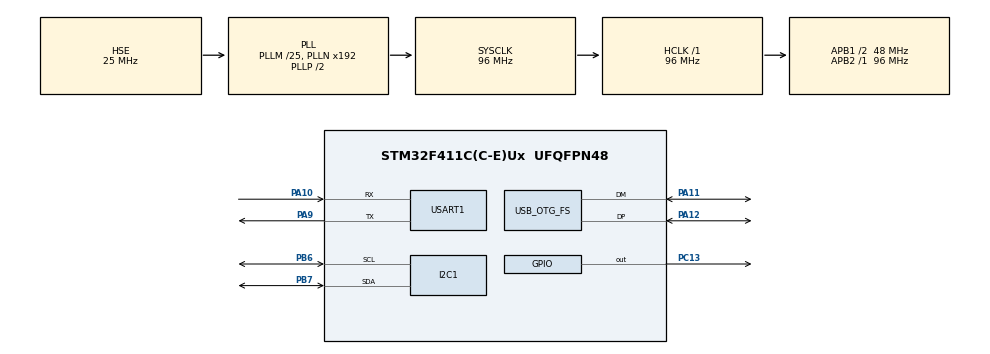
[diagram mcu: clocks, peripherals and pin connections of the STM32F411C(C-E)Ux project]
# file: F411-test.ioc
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Mcu.Family=STM32F4
Mcu.Name=STM32F411C(C-E)Ux
Mcu.Package=UFQFPN48
NVIC.OTG_FS_IRQn=true\:0\:0\:false\:false\:true\:false\:true\:true
NVIC.PriorityGroup=NVIC_PRIORITYGROUP_4
PA10.Mode=Asynchronous
PA10.Signal=USART1_RX
PA11.Mode=Device_Only
PA11.Signal=USB_OTG_FS_DM
PA12.Mode=Device_Only
PA12.Signal=USB_OTG_FS_DP
PA9.Mode=Asynchronous
PA9.Signal=USART1_TX
PB6.Mode=I2C
PB6.Signal=I2C1_SCL
PB7.Mode=I2C
PB7.Signal=I2C1_SDA
PC13-ANTI_TAMP.Signal=GPIO_Output
PC14-OSC32_IN.Mode=LSE-External-Oscillator
PC14-OSC32_IN.Signal=RCC_OSC32_IN
PC15-OSC32_OUT.Mode=LSE-External-Oscillator
PC15-OSC32_OUT.Signal=RCC_OSC32_OUT
PH0\ -\ OSC_IN.Mode=HSE-External-Oscillator
PH0\ -\ OSC_IN.Signal=RCC_OSC_IN
PH1\ -\ OSC_OUT.Mode=HSE-External-Oscillator
PH1\ -\ OSC_OUT.Signal=RCC_OSC_OUT
ProjectManager.HeapSize=0x200
ProjectManager.StackSize=0x400
ProjectManager.TargetToolchain=STM32CubeIDE
RCC.48MHZClocksFreq_Value=48000000
RCC.AHBFreq_Value=96000000
RCC.APB1CLKDivider=RCC_HCLK_DIV2
RCC.APB1Freq_Value=48000000
RCC.APB1TimFreq_Value=96000000
RCC.APB2Freq_Value=96000000
RCC.APB2TimFreq_Value=96000000
RCC.CortexFreq_Value=96000000
RCC.HCLKFreq_Value=96000000
RCC.HSE_VALUE=25000000
RCC.HSI_VALUE=16000000
RCC.PLLM=25
RCC.SYSCLKFreq_VALUE=96000000
RCC.SYSCLKSource=RCC_SYSCLKSOURCE_PLLCLK
RCC.VCOOutputFreq_Value=192000000
USART1.VirtualMode=VM_ASYNC
USB_DEVICE.CLASS_NAME_FS=CDC
USB_DEVICE.VirtualMode=Cdc
USB_DEVICE.VirtualModeFS=Cdc_FS
USB_OTG_FS.VirtualMode=Device_Only
VP_USB_DEVICE_VS_USB_DEVICE_CDC_FS.Mode=CDC_FS
board=custom

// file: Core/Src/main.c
/* USER CODE BEGIN Header */
/**
  ******************************************************************************
  * @file           : main.c
  * @brief          : Main program body
  ******************************************************************************
  * @attention
  *
  * Copyright (c) 2023 STMicroelectronics.
  * All rights reserved.
  *
  * This software is licensed under terms that can be found in the LICENSE file
  * in the root directory of this software component.
  * If no LICENSE file comes with this software, it is provided AS-IS.
  *
  ******************************************************************************
  * Date completed: Jul 12, 2023
  * Celine Kwan
  * Desc: testing LED blink, USB CDC Serial transmission,
  * UART transmission, I2C communication with STM32F411
  * BlackPill board. SUCESS.
  */
/* USER CODE END Header */
#include "main.h"
#include "usb_device.h"

/* USER CODE BEGIN Includes */
#include <string.h>
#include <stdio.h>
/* USER CODE END Includes */

I2C_HandleTypeDef hi2c1;

UART_HandleTypeDef huart1;

/* USER CODE BEGIN PV */
#define adxl_address 0x53<<1
/* USER CODE END PV */

void SystemClock_Config(void);
static void MX_GPIO_Init(void);
static void MX_USART1_UART_Init(void);
static void MX_I2C1_Init(void);
/* USER CODE BEGIN PFP */
extern uint8_t CDC_Transmit_FS(uint8_t* Buf, uint16_t Len); // for Virtual COM Port

// for I2C data transfer with ADXL
uint8_t data_rec[6];

int16_t x, y, z; // original: uint16-t

float xg, yg, zg;

void display_data (float);

char x_char[4] = {0};

// write function
void adxl_write (uint8_t reg, uint8_t value) {
	uint8_t data[2];
	data[0] = reg;
	data[1] = value;
	HAL_I2C_Master_Transmit (&hi2c1, adxl_address, data, 2, 10);
}

// read function
void adxl_read (uint8_t reg, uint8_t numberofbytes) {
	HAL_I2C_Mem_Read (&hi2c1, adxl_address, reg, 1, data_rec, numberofbytes, 100);
}

// initialization
void adxl_init (void) {
	adxl_read(0x00,1); // 0xE5

	adxl_write (0x2d, 0); // reset all bits
	adxl_write (0x2d, 0x08); // measure bit-1, wakeup 0, 0 at 8hz

	adxl_write (0x31, 0x01); // +- 4g range
}

void display_data(float data) { // TODO check if UART output formatting is correct
	sprintf (x_char, "% 4f", data); // needed to add -u _printf_float linker flag -- might have to change to %.4f
	HAL_UART_Transmit(&huart1,(uint8_t*)x_char, sizeof(x_char),10);
}

/* USER CODE END PFP */

int main(void)
{
  /* USER CODE BEGIN 1 */
	uint8_t buf[12];
//	uint8_t buffer[] = "Hello World";
  /* USER CODE END 1 */

  /* MCU Configuration--------------------------------------------------------*/

  /* Reset of all peripherals, Initializes the Flash interface and the Systick. */
  HAL_Init();

  /* Configure the system clock */
  SystemClock_Config();

  /* Initialize all configured peripherals */
  MX_GPIO_Init();
  MX_USB_DEVICE_Init();
  MX_USART1_UART_Init();
  MX_I2C1_Init();
  /* USER CODE BEGIN 2 */

  adxl_init();

  /* USER CODE END 2 */

  /* Infinite loop */
  while (1)
  {

    /* USER CODE BEGIN 3 */

	  // 4. I2C with ADXL - WORKS
//	  adxl_read (0x32, 6);
//	  x = (data_rec[1]<<8) | data_rec[0];
//	  y = (data_rec[3]<<8) | data_rec[2];
//	  z = (data_rec[5]<<8) | data_rec[4];
//
//	  /* convert the x value to the g
//	   * under test condition: +-4 g, 10-bit resolution */
//	  xg = x * .0078;
//	  yg = y * .0078;
//	  zg = z * .0078;
//
//	  // print data to UART
//	  strcpy((char*)buf,"\r\n====\r\nX: ");
//	  HAL_UART_Transmit(&huart1,buf,strlen((char*)buf),HAL_MAX_DELAY);
//	  display_data(xg);
//
//	  strcpy((char*)buf,"\r\nY: ");
//	  HAL_UART_Transmit(&huart1,buf,strlen((char*)buf),HAL_MAX_DELAY);
//	  display_data(yg);
//
//	  strcpy((char*)buf,"\r\nZ: ");
//	  HAL_UART_Transmit(&huart1,buf,strlen((char*)buf),HAL_MAX_DELAY);
//	  display_data(zg);
//
//	  HAL_Delay(500);

	  // 3. Sending Hello World string via UART - WORKS
//	  HAL_UART_Transmit(&huart1, buffer, sizeof(buffer), 10);
//	  HAL_Delay(500);

	  // 2. Sending Hello World string via USB CDC - WORKS
//	  CDC_Transmit_FS(buffer,sizeof(buffer));
//	  HAL_Delay(500);

	  // 1. Blinking LED - WORKS
//	  HAL_GPIO_TogglePin(GPIOC, GPIO_PIN_13);
//	  HAL_Delay(500);
  }
  /* USER CODE END 3 */
}

void SystemClock_Config(void)
{
  RCC_OscInitTypeDef RCC_OscInitStruct = {0};
  RCC_ClkInitTypeDef RCC_ClkInitStruct = {0};

  /** Configure the main internal regulator output voltage
  */
  __HAL_RCC_PWR_CLK_ENABLE();
  __HAL_PWR_VOLTAGESCALING_CONFIG(PWR_REGULATOR_VOLTAGE_SCALE1);

  /** Initializes the RCC Oscillators according to the specified parameters
  * in the RCC_OscInitTypeDef structure.
  */
  RCC_OscInitStruct.OscillatorType = RCC_OSCILLATORTYPE_HSE;
  RCC_OscInitStruct.HSEState = RCC_HSE_ON;
  RCC_OscInitStruct.PLL.PLLState = RCC_PLL_ON;
  RCC_OscInitStruct.PLL.PLLSource = RCC_PLLSOURCE_HSE;
  RCC_OscInitStruct.PLL.PLLM = 25;
  RCC_OscInitStruct.PLL.PLLN = 192;
  RCC_OscInitStruct.PLL.PLLP = RCC_PLLP_DIV2;
  RCC_OscInitStruct.PLL.PLLQ = 4;
  if (HAL_RCC_OscConfig(&RCC_OscInitStruct) != HAL_OK)
  {
    Error_Handler();
  }

  /** Initializes the CPU, AHB and APB buses clocks
  */
  RCC_ClkInitStruct.ClockType = RCC_CLOCKTYPE_HCLK|RCC_CLOCKTYPE_SYSCLK
                              |RCC_CLOCKTYPE_PCLK1|RCC_CLOCKTYPE_PCLK2;
  RCC_ClkInitStruct.SYSCLKSource = RCC_SYSCLKSOURCE_PLLCLK;
  RCC_ClkInitStruct.AHBCLKDivider = RCC_SYSCLK_DIV1;
  RCC_ClkInitStruct.APB1CLKDivider = RCC_HCLK_DIV2;
  RCC_ClkInitStruct.APB2CLKDivider = RCC_HCLK_DIV1;

  if (HAL_RCC_ClockConfig(&RCC_ClkInitStruct, FLASH_LATENCY_3) != HAL_OK)
  {
    Error_Handler();
  }
}

static void MX_I2C1_Init(void)
{

  hi2c1.Instance = I2C1;
  hi2c1.Init.ClockSpeed = 100000;
  hi2c1.Init.DutyCycle = I2C_DUTYCYCLE_2;
  hi2c1.Init.OwnAddress1 = 0;
  hi2c1.Init.AddressingMode = I2C_ADDRESSINGMODE_7BIT;
  hi2c1.Init.DualAddressMode = I2C_DUALADDRESS_DISABLE;
  hi2c1.Init.OwnAddress2 = 0;
  hi2c1.Init.GeneralCallMode = I2C_GENERALCALL_DISABLE;
  hi2c1.Init.NoStretchMode = I2C_NOSTRETCH_DISABLE;
  if (HAL_I2C_Init(&hi2c1) != HAL_OK)
  {
    Error_Handler();
  }

}

static void MX_USART1_UART_Init(void)
{

  huart1.Instance = USART1;
  huart1.Init.BaudRate = 115200;
  huart1.Init.WordLength = UART_WORDLENGTH_8B;
  huart1.Init.StopBits = UART_STOPBITS_1;
  huart1.Init.Parity = UART_PARITY_NONE;
  huart1.Init.Mode = UART_MODE_TX_RX;
  huart1.Init.HwFlowCtl = UART_HWCONTROL_NONE;
  huart1.Init.OverSampling = UART_OVERSAMPLING_16;
  if (HAL_UART_Init(&huart1) != HAL_OK)
  {
    Error_Handler();
  }

}

static void MX_GPIO_Init(void)
{
  GPIO_InitTypeDef GPIO_InitStruct = {0};

  /* GPIO Ports Clock Enable */
  __HAL_RCC_GPIOC_CLK_ENABLE();
  __HAL_RCC_GPIOH_CLK_ENABLE();
  __HAL_RCC_GPIOA_CLK_ENABLE();
  __HAL_RCC_GPIOB_CLK_ENABLE();

  /*Configure GPIO pin Output Level */
  HAL_GPIO_WritePin(GPIOC, GPIO_PIN_13, GPIO_PIN_RESET);

  /*Configure GPIO pin : PC13 */
  GPIO_InitStruct.Pin = GPIO_PIN_13;
  GPIO_InitStruct.Mode = GPIO_MODE_OUTPUT_PP;
  GPIO_InitStruct.Pull = GPIO_NOPULL;
  GPIO_InitStruct.Speed = GPIO_SPEED_FREQ_LOW;
  HAL_GPIO_Init(GPIOC, &GPIO_InitStruct);

}

void Error_Handler(void)
{
  __disable_irq();
  while (1)
  {
  }
}
